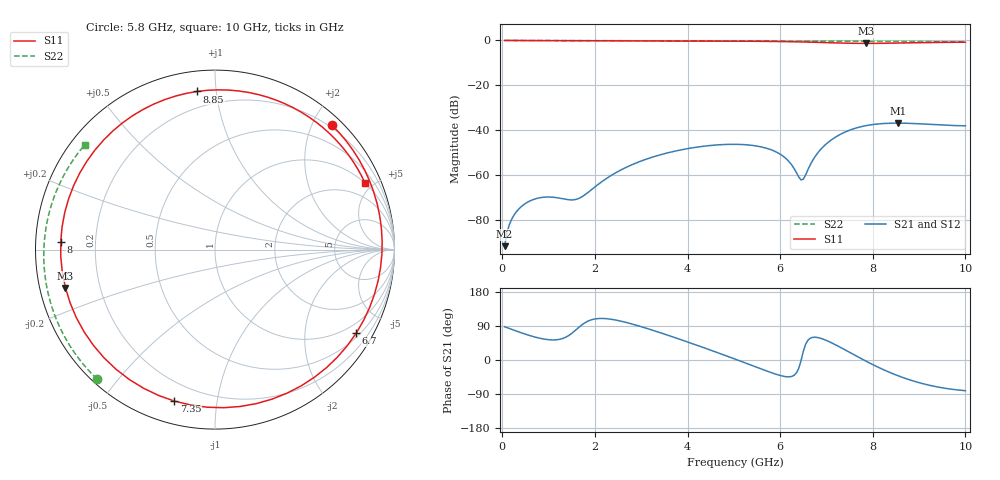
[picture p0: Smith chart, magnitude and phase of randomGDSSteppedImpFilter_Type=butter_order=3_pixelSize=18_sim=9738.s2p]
! freq	dB(S11)	phase(S11)	dB(S12)	phase(S12)
!  dB(S21)	phase(S21)	dB(S22)	phase(S22)
!S-par simulation data
#  GHz  S  DB  R 50
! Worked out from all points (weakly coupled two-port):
!   200 points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, 50 MHz to 10 GHz, reference 50 ohm
!   highest |S21| = -36.78 dB at 8.55 GHz (marker M1); lowest = -91.5 dB at 50 MHz (marker M2)
!   lowest |S11| = -1.3 dB at 7.85 GHz (marker M3), VSWR 13.27, Z = 3.83 - j6.25 ohm
!   |S11| at or under -10 dB: nowhere
!   |S22| runs from -0.6 to 0.0 dB; largest |S21 - S12| = 0
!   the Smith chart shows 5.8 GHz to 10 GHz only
!   S11 on the Smith chart (normalised r, x): 5.8 GHz: 0.16, +2.30; 6.7 GHz: 0.63, -3.55; 7.35 GHz: 0.11, -0.76; 8 GHz: 0.07, +0.02; 8.85 GHz: 0.11, +0.89; 10 GHz: 0.98, +4.48
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0.05  -0.00 -3.4  -91.53 87.7  -91.53 87.7  -0.00 -1.3
0.2  -0.02 -13.3  -79.66 81.0  -79.66 81.0  -0.01 -5.2
0.55  -0.05 -36.1  -71.91 66.1  -71.91 66.1  -0.02 -14.1
0.95  -0.08 -61.1  -69.67 54.3  -69.67 54.3  -0.03 -24.2
1.75  -0.12 -106.5  -69.15 95.4  -69.15 95.4  -0.06 -44.0
2.6  -0.15 -148.6  -57.21 101.4  -57.21 101.4  -0.08 -64.3
3.4  -0.19 174.8  -50.95 72.5  -50.95 72.5  -0.11 -82.4
4.2  -0.23 137.8  -47.47 39.1  -47.47 39.1  -0.14 -99.7
5.05  -0.31 94.1  -46.21 1.3  -46.21 1.3  -0.17 -117.3
5.8  -0.43 46.8  -48.60 -33.0  -48.60 -33.0  -0.22 -132.3
6.15  -0.53 20.1  -53.01 -44.3  -53.01 -44.3  -0.24 -139.2
6.45  -0.65 -6.2  -62.05 -2.1  -62.05 -2.1  -0.26 -145.1
6.7  -0.78 -30.6  -53.43 59.7  -53.43 59.7  -0.28 -150.0
7.05  -1.00 -69.1  -45.11 48.8  -45.11 48.8  -0.31 -156.9
7.35  -1.17 -105.0  -41.25 30.2  -41.25 30.2  -0.33 -162.8
7.85  -1.31 -165.7  -37.91 -2.8  -37.91 -2.8  -0.38 -172.8
8  -1.30 177.2  -37.41 -12.1  -37.41 -12.1  -0.39 -175.8
8.35  -1.22 140.5  -36.84 -31.9  -36.84 -31.9  -0.43 177.1
8.55  -1.15 121.7  -36.78 -41.8  -36.78 -41.8  -0.45 173.0
8.85  -1.04 96.5  -36.93 -54.4  -36.93 -54.4  -0.48 166.7
9.45  -0.86 54.8  -37.58 -72.3  -37.58 -72.3  -0.55 153.7
10  -0.78 24.1  -37.96 -81.0  -37.96 -81.0  -0.62 141.3
